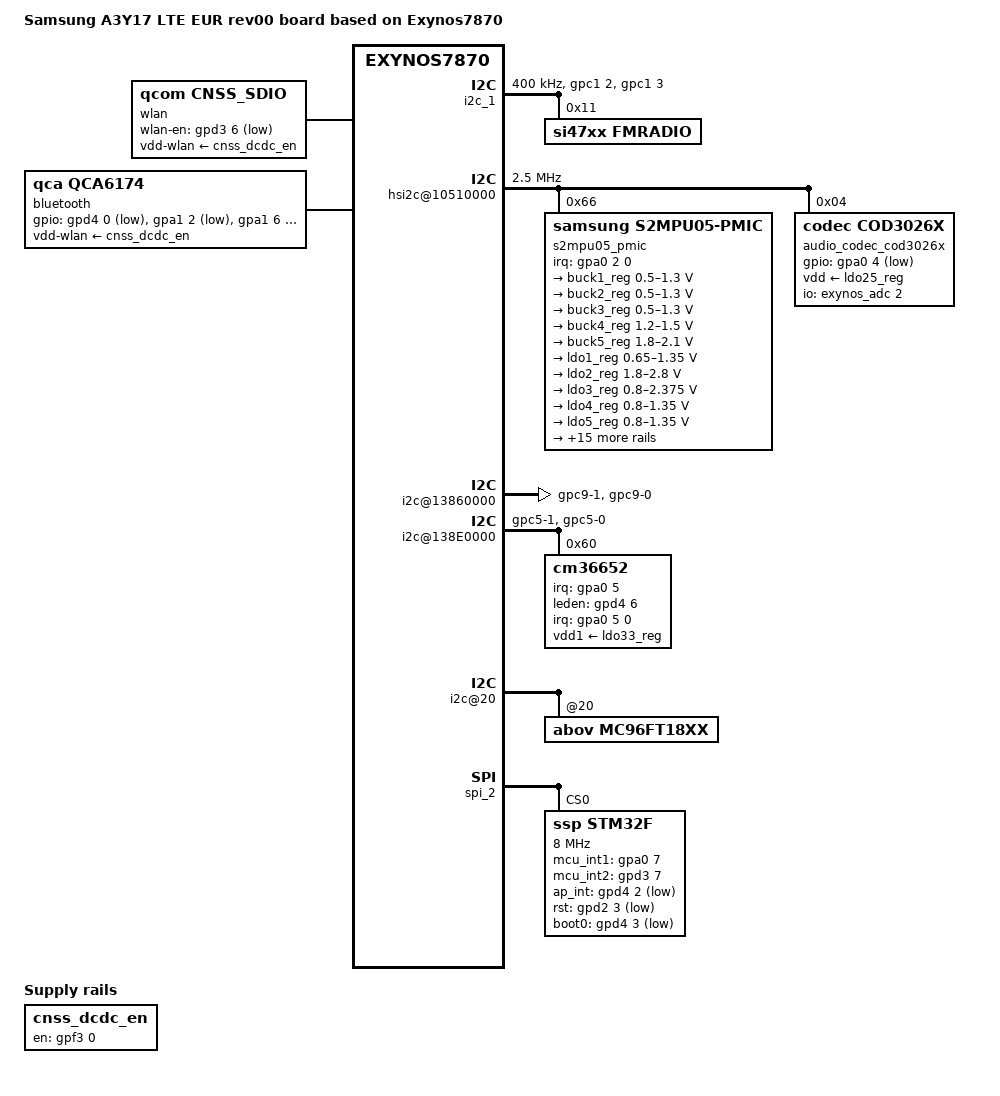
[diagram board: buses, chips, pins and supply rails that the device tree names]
/*
 * Copyright (c) 2016 Samsung Electronics Co., Ltd.
 *		http://www.samsung.com
 *
 * This program is free software; you can redistribute it and/or modify
 * it under the terms of the GNU General Public License version 2 as
 * published by the Free Software Foundation.
*/

/dts-v1/;
#include "exynos7870-a3y17lte_common.dtsi"
#include "modem-ss315ap-pdata.dtsi"
#include "exynos7870-a3y17lte_eur_ldu_gpio_00.dtsi"
#include "exynos7870-a3y17lte_eur_ldu_battery_00.dtsi"

/ {
	model = "Samsung A3Y17 LTE EUR rev00 board based on Exynos7870";
        model_info-chip = <7870>;
        model_info-platform = "android";
        model_info-subtype = "samsung";
        model_info-hw_rev = <0>;
        model_info-hw_rev_end = <0>;
	compatible = "samsung, A3Y17 EUR LDU 00", "samsung,exynos7870";
	
	cnss_dcdc_en: cnss_dcdc_en {
		compatible = "regulator-fixed";
		regulator-name = "cnss_dcdc_en";
		startup-delay-us = <4000>;
		enable-active-high;
		gpio = <&gpf3 0 0>;
	};

	but_zones: but_zones {
		#list-but-cells = <3>;
	};

	s1402x: s1402x@14880000 {
		pinctrl-names = "default", "idle", "bt", "bt-idle", "fm", "fm-idle";
		pinctrl-0 = <&i2s_pmic_amp_bus
			&i2s_bt_bus>;
		pinctrl-1 = <&i2s_pmic_amp_bus_idle
			&i2s_bt_bus_idle> ;
		pinctrl-2 = <&i2s_pmic_bus
			&i2s_amp_bus>;
		pinctrl-3 = <&i2s_bt_bus_idle>;
		pinctrl-4 = <&i2s_fm_bus>;
		pinctrl-5 = <&i2s_fm_bus_idle>;

		/delete-property/ bck-mcko-mode;
		status = "okay";
	};


	pinctrl@139B0000 {
		si47xx_rst_default: si47xx_rst_default {
			samsung,pins = "gpd1-2";
			samsung,pin-function = <1>;
			samsung,pin-pud = <0>;
			samsung,pin-val = <0>;
		};
		si47xx_int_default: si47xx_int_default {
			samsung,pins = "gpd4-4";
			samsung,pin-function = <0xf>;
			samsung,pin-pud = <0>;
			samsung,pin-val = <0>;
		};
		i2c1_bus: i2c1-bus {
			samsung,pins = "gpc1-3", "gpc1-2";			
			samsung,pin-function = <2>;
			samsung,pin-pud = <0>;
			samsung,pin-drv = <0>;
		};
	};

	i2c_1: i2c@13880000 {
		status = "okay";
		gpios = <&gpc1 2 0 &gpc1 3 0>;
		clock-frequency = <400000>;

		si47xx@11 {
			compatible = "si47xx,fmradio";
			reg = <0x11>;
			si47xx,mode = <1>;
			si47xx,reset = <&gpd1 2 0>;
			si47xx,interrupt = <&gpd4 4 0>;
			pinctrl-names = "default";
			pinctrl-0 = <&si47xx_rst_default &si47xx_int_default>;
			si47xx,rx-vol = <0x00 0x10 0x15 0x1A
							0x1E 0x22 0x25 0x28
							0x2A 0x2C 0x2E 0x31
							0x34 0x36 0x38 0x3B>;
		};
	};

	hsi2c@10510000 {
		status = "okay";
		samsung,hs-mode;
		clock-frequency = <2500000>;
		samsung,hsi2c-batcher;
		#address-cells = <1>;
		#size-cells = <0>;

		s2mpu05_pmic@66 {
			compatible = "samsung,s2mpu05-pmic";
			reg = <0x66>;
			ten-bit-address;
			interrupts = <2 0 0>;
			interrupt-parent = <&gpa0>;
			pinctrl-names = "default";
			pinctrl-0 = <&pmic_irq &pm_wrsti>;
			g3d_en = <1>; /* 1 : enable , 0 : disable */
			buck2en_pin = "etc1-3";
			buck2en_addr = "139B0080.pinctrl";
			/* RTC: wtsr/smpl */
			wtsr_en = <1>; /* enable */
			smpl_en = <1>; /* enable */
			wtsr_timer_val = <3>;   /* 1000ms */
			smpl_timer_val = <0>;   /* 100ms */
			check_jigon = <0>; /* do not check jigon */
			/* RTC: If it's first boot, reset rtc to 1/1/2017 12:00:00(Sun) */
			init_time,sec = <0>;
			init_time,min = <0>;
			init_time,hour = <12>;
			init_time,mday = <1>;
			init_time,mon = <0>;
			init_time,year = <117>;
			init_time,wday = <0>;

			regulators {
				buck1_reg: BUCK1 {
					regulator-name = "BUCK1";
					regulator-min-microvolt = <500000>;
					regulator-max-microvolt = <1300000>;
					regulator-always-on;
					regulator-boot-on;
					regulator-ramp-delay = <12000>;
					regulator-initial-mode = <1>;
					regulator-expected-consumer = <2>;
				};

				buck2_reg: BUCK2 {
					regulator-name = "BUCK2";
					regulator-min-microvolt = <500000>;
					regulator-max-microvolt = <1300000>;
					regulator-always-on;
					regulator-boot-on;
					regulator-ramp-delay = <12000>;
					regulator-initial-mode = <2>;		/* MIF mode */
					regulator-expected-consumer = <4>;
				};

				buck3_reg: BUCK3 {
					regulator-name = "BUCK3";
					regulator-min-microvolt = <500000>;
					regulator-max-microvolt = <1300000>;
					regulator-always-on;
					regulator-boot-on;
					regulator-ramp-delay = <12000>;
					regulator-initial-mode = <2>;
				};

				buck4_reg: BUCK4 {
					regulator-name = "BUCK4";
					regulator-min-microvolt = <1200000>;
					regulator-max-microvolt = <1500000>;
					regulator-always-on;
					regulator-boot-on;
					regulator-ramp-delay = <12000>;
					regulator-initial-mode = <2>;
				};

				buck5_reg: BUCK5 {
					regulator-name = "BUCK5";
					regulator-min-microvolt = <1800000>;
					regulator-max-microvolt = <2100000>;
					regulator-always-on;
					regulator-boot-on;
					regulator-ramp-delay = <12000>;
					regulator-initial-mode = <2>;
				};

				ldo1_reg: LDO1 {
					regulator-name = "vdd_ldo1";
					regulator-min-microvolt = <650000>;
					regulator-max-microvolt = <1350000>;
					regulator-always-on;
					regulator-boot-on;
					regulator-ramp-delay = <12000>;
					regulator-initial-mode = <3>;
				};

				ldo2_reg: LDO2 {
					regulator-name = "vqmmc";
					regulator-min-microvolt = <1800000>;
					regulator-max-microvolt = <2800000>;
					regulator-ramp-delay = <12000>;
					regulator-initial-mode = <0>;
				};

				ldo3_reg: LDO3 {
					regulator-name = "vdd_ldo3";
					regulator-min-microvolt = <800000>;
					regulator-max-microvolt = <2375000>;
					regulator-boot-on;
					regulator-always-on;
					regulator-ramp-delay = <12000>;
					regulator-initial-mode = <3>;
				};

				ldo4_reg: LDO4 {
					regulator-name = "vdd_ldo4";
					regulator-min-microvolt = <800000>;
					regulator-max-microvolt = <1350000>;
					regulator-boot-on;
					regulator-always-on;
					regulator-ramp-delay = <12000>;
					regulator-initial-mode = <1>;
				};

				ldo5_reg: LDO5 {
					regulator-name = "vdd_ldo5";
					regulator-min-microvolt = <800000>;
					regulator-max-microvolt = <1350000>;
					regulator-boot-on;
					regulator-always-on;
					regulator-ramp-delay = <12000>;
					regulator-initial-mode = <3>;
				};

				ldo6_reg: LDO6 {
					regulator-name = "vdd_ldo6";
					regulator-min-microvolt = <800000>;
					regulator-max-microvolt = <1350000>;
					regulator-boot-on;
					regulator-always-on;
					regulator-ramp-delay = <12000>;
					regulator-initial-mode = <1>;
				};

				ldo7_reg: LDO7 {
					regulator-name = "vdd_ldo7";
					regulator-min-microvolt = <800000>;
					regulator-max-microvolt = <2375000>;
					regulator-boot-on;
					regulator-always-on;
					regulator-ramp-delay = <12000>;
					regulator-initial-mode = <1>;
				};

				ldo8_reg: LDO8 {
					regulator-name = "vdd_ldo8";
					regulator-min-microvolt = <1800000>;
					regulator-max-microvolt = <3375000>;
					regulator-boot-on;
					regulator-always-on;
					regulator-ramp-delay = <12000>;
					regulator-initial-mode = <1>;
				};

				ldo9_reg: LDO9 {
					regulator-name = "vdd_ldo9";
					regulator-min-microvolt = <650000>;
					regulator-max-microvolt = <1350000>;
					regulator-always-on;
					regulator-ramp-delay = <12000>;
					regulator-initial-mode = <1>;
				};

				ldo10_reg: LDO10 {
					regulator-name = "vdd_ldo10";
					regulator-min-microvolt = <650000>;
					regulator-max-microvolt = <1350000>;
					regulator-always-on;
					regulator-ramp-delay = <12000>;
					regulator-initial-mode = <1>;
				};

				ldo25_reg: LDO25 {
					regulator-name = "vdd_ldo25";
					regulator-min-microvolt = <800000>;
					regulator-max-microvolt = <2375000>;
					regulator-ramp-delay = <12000>;
					regulator-initial-mode = <1>;
				};

				ldo26_reg: LDO26 {
					regulator-name = "vemmc";
					regulator-min-microvolt = <1800000>;
					regulator-max-microvolt = <3375000>;
					regulator-boot-on;
					regulator-ramp-delay = <12000>;
					regulator-initial-mode = <3>;
				};

				ldo27_reg: LDO27 {
					regulator-name = "vqemmc";
					regulator-min-microvolt = <800000>;
					regulator-max-microvolt = <2375000>;
					regulator-boot-on;
					regulator-ramp-delay = <12000>;
					regulator-initial-mode = <3>;
				};

				ldo29_reg: LDO29 {
					regulator-name = "LCD_3P0";
					regulator-min-microvolt = <3000000>;
					regulator-max-microvolt = <3000000>;
					regulator-boot-on;
					regulator-ramp-delay = <12000>;
					regulator-initial-mode = <3>;
				};

				ldo30_reg: LDO30 {
					regulator-name = "LCD_1P8";
					regulator-min-microvolt = <1800000>;
					regulator-max-microvolt = <1800000>;
					regulator-boot-on;
					regulator-ramp-delay = <12000>;
					regulator-initial-mode = <3>;
				};

				ldo31_reg: LDO31 {
					regulator-name = "vdd_ldo31";
					regulator-min-microvolt = <2950000>;
					regulator-max-microvolt = <2950000>;
					regulator-boot-on;
					regulator-always-on;
					regulator-ramp-delay = <12000>;
					regulator-initial-mode = <1>;
				};

				ldo32_reg: LDO32 {
					regulator-name = "VDD_MOTOR_3.3";
					regulator-min-microvolt = <3325000>;
					regulator-max-microvolt = <3325000>;
					regulator-ramp-delay = <12000>;
				};

				ldo33_reg: LDO33 {
					regulator-name = "vtouch_3.3v";
					regulator-min-microvolt = <3300000>;
					regulator-max-microvolt = <3300000>;
				};

				ldo34_reg: LDO34 {
					regulator-name = "tsp_avdd";
					regulator-min-microvolt = <3300000>;
					regulator-max-microvolt = <3300000>;
				};

				ldo35_reg: LDO35 {
					regulator-name = "VDD_CAM_SENSOR_A2P8";
					regulator-min-microvolt = <2950000>;
					regulator-max-microvolt = <2950000>;
					regulator-initial-mode = <0>;
				};
			};
		};

		audio_codec_cod3026x: cod3026x@04 {
			compatible = "codec,cod3026x";
			reg = <0x04>;
			ten-bit-address;
			vdd-supply = <&ldo25_reg>;
			pinctrl-names = "default";
			pinctrl-0 = <&cod3026_irq>;
			interrupt-parent = <&gpa0>;
			gpios = <&gpa0 4 0xf>;
			mic-bias1-voltage = <1>;
			mic-bias2-voltage = <1>;
			mic-bias-ldo-voltage = <3>;
			use-det-adc-mode;
			io-channels = <&exynos_adc 2>;
			io-channel-names = "adc-jack";
			#io-channel-cells = <1>;
			io-channel-ranges;
			but-zones-list = <&but_zones 226 0 210>, /* send/end */
					<&but_zones 582 211 291>, /* google */
					<&but_zones 115 292 486>, /* vol up */
					<&but_zones 114 487 1000>; /* vol down */
			mic-adc-range = <1347>;
		};
	};

	wlan {
		compatible = "qcom,cnss_sdio";
		wlan-en-gpio = <&gpd3 6 0x1>; /* WLAN_EN */
		wlan-host-wake = <&gpa2 2 0>; /* WLAN_HOST_WAKE */
		vdd-wlan-supply = <&cnss_dcdc_en>; /* DCDC_EN regulator */
		pinctrl-names = "default";
		pinctrl-0 = <&cnss_wlanen &cfg_wlanhostwake>;
		status = "okay";
	};

	pinctrl@13750000 {
		sd1_bus1: sd1-bus-width1 {
			samsung,pin-pud = <3>;
		};

		sd1_bus4: sd1-bus-width4 {
			samsung,pin-pud = <3>;
		};
	};
	
	bluetooth {
		compatible = "qca,qca6174";
		gpios = <&gpd4 0 0x1	/*BT_EN*/
				&gpa1 2 0x1	/*BT_WAKE*/
				&gpa1 6 0xF	/*BT_HOST_WAKE*/ >;
		vdd-wlan-supply = <&cnss_dcdc_en>; /* DCDC_EN regulator */
		pinctrl-names = "default";
		pinctrl-0=<&bt_hostwake &bt_btwake &bt_en>;
		status = "okay";
	};

	pinctrl@139F0000 {
		mpu_irq: mpu_irq {
			samsung,pins = "gpa2-3";
			samsung,pin-function = <0xf>;
			samsung,pin-pud = <1>;
			samsung,pin-drv = <0>;
		};

		ps_als: ps_als {
			samsung,pins = "gpa0-5";
			samsung,pin-function = <0xf>;
			samsung,pin-pud = <0>;
			samsung,pin-drv = <0>;
		};
	};

	pinctrl@139B0000 {
		leden_gpio: leden_gpio {
			samsung,pins = "gpd4-6";
			samsung,pin-function = <1>;
			samsung,pin-pud = <0>;
			samsung,pin-val = <0>;
		};

		proxy_i2c: proxy_i2c {
			samsung,pins = "gpc5-1", "gpc5-0";
			samsung,pin-function = <2>;
			samsung,pin-pud = <0>;
		};

		spk_amp_i2c: spk-amp-i2c {
			samsung,pins = "gpc9-1", "gpc9-0";
			samsung,pin-function = <2>;
			samsung,pin-pud = <0>;
		};
	};

	i2c@13860000 {
		status = "okay";
		samsung,i2c-max-bus-freq = <400000>;
		samsung,i2c-bus-num = <20>;
		pinctrl-names = "default";
		pinctrl-0 = <&spk_amp_i2c>;
	};

	i2c@138E0000 {
		samsung,i2c-sda-delay = <100>;
		samsung,i2c-max-bus-freq = <400000>;
		status = "okay";
		#address-cells = <1>;
		#size-cells = <0>;
		pinctrl-names = "default";
		pinctrl-0 = <&proxy_i2c>;

		cm36652@60 {
			compatible = "cm36652";
			reg = <0x60>;
			pinctrl-names = "dafault";
			pinctrl-0 = <&ps_als &leden_gpio>;
			vdd1-supply = <&ldo33_reg>;
			interrupt-parent = <&gpa0>;
			interrupts = <5 0 0>;
			cm36652,irq_gpio = <&gpa0 5 0x00>;
			cm36652,leden_gpio =  <&gpd4 6 0>;
			cm36652,default_hi_thd = <18>;
			cm36652,default_low_thd = <14>;
			cm36652,cancel_hi_thd = <10>;
			cm36652,cancel_low_thd = <7>;
			cm36652,trim = <0x0000>;
		};
	};

	i2c@20{
		abov@20 {
			compatible = "abov,mc96ft18xx";
			abov,bringup = "true";
		};
	};

	/* SENSORHUB */
    spi_2: spi@13930000 {
        #address-cells = <1>;
        #size-cells = <0>;

        pinctrl-names = "default";
        pinctrl-0 = <&spi2_mosi_sck_ssn &spi2_miso>;

        num-cs = <1>;
        status = "okay";

		STM32F@0 {
			compatible = "ssp,STM32F";
			reg = <0>;
			spi-max-frequency = <8000000>;
			spi-cpol;
			spi-cpha;
			pinctrl-names = "default";
			pinctrl-0 = <&ssp_rst &ssp_ap_int &ssp_mcu_int1 &ssp_mcu_int2 &ssp_boot0>;

			gpio-controller;
			#gpio-cells = <2>;
			ssp,mcu_int1-gpio = <&gpa0 7 0x00>;
			ssp,mcu_int2-gpio = <&gpd3 7 0x00>;
			ssp,ap_int-gpio = <&gpd4 2 0x01>;
			ssp,rst-gpio = <&gpd2 3 0x01>;
			ssp,boot0-gpio = <&gpd4 3 0x1>;
			ssp,acc-position = <5>;
			ssp,mag-position = <7>;
			ssp-sns-combination = <0>;
			ssp,prox-hi_thresh = <55>;
			ssp,prox-low_thresh = <40>;
			ssp,prox-detect_hi_thresh = <250>;
			ssp,prox-detect_low_thresh = <130>;
			ssp-ap-rev = <1>;
			ssp-mag-array = /bits/ 8 <0 0 0 0 0 0 0 0 0 0
						0 0 0 0 0 0 0 0 0 0
						0 0 0 0 0 0 0>;
			ssp-mag-type = <1>;
			ssp-glass-type = <0>;
			ssp-acc-type = <1>;
			ssp-pressure-type = <1>;


            controller-data {
                cs-gpio = <&gpc4 3 0>;
                samsung,spi-feedback-delay = <0>;
			};
        };
	};

	fimc_is_module_imx219: fimc-is_sensor_imx219c@20 {
		gpio_vtcam_1p2_en = <&gpf4 2 0x1>; /* 1P2 enable pin only HW 0.0 */
	};
};
